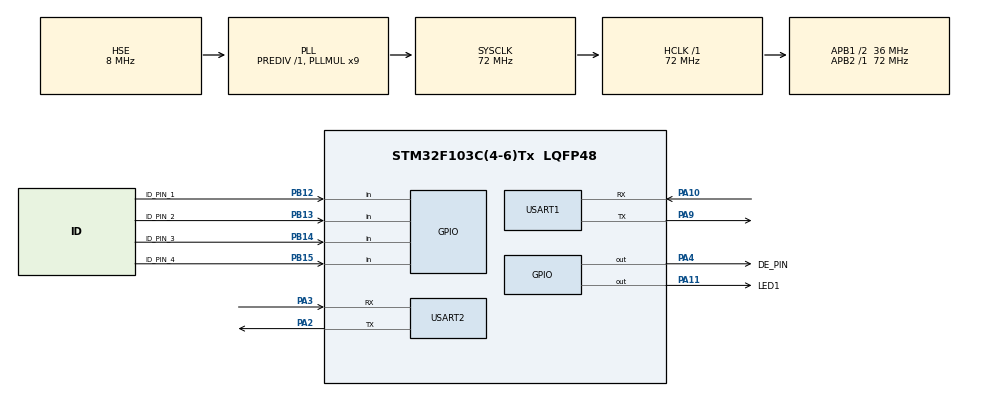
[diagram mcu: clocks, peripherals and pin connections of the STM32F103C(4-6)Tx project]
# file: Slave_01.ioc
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Dma.Request0=USART1_TX
Dma.Request1=USART2_RX
Dma.Request2=USART2_TX
Dma.Request3=USART1_RX
Dma.USART1_RX.3.Direction=DMA_PERIPH_TO_MEMORY
Dma.USART1_RX.3.Instance=DMA1_Channel5
Dma.USART1_RX.3.MemDataAlignment=DMA_MDATAALIGN_BYTE
Dma.USART1_RX.3.MemInc=DMA_MINC_ENABLE
Dma.USART1_RX.3.Mode=DMA_NORMAL
Dma.USART1_RX.3.PeriphDataAlignment=DMA_PDATAALIGN_BYTE
Dma.USART1_RX.3.PeriphInc=DMA_PINC_DISABLE
Dma.USART1_RX.3.Priority=DMA_PRIORITY_HIGH
Dma.USART1_TX.0.Direction=DMA_MEMORY_TO_PERIPH
Dma.USART1_TX.0.Instance=DMA1_Channel4
Dma.USART1_TX.0.MemDataAlignment=DMA_MDATAALIGN_BYTE
Dma.USART1_TX.0.MemInc=DMA_MINC_ENABLE
Dma.USART1_TX.0.Mode=DMA_NORMAL
Dma.USART1_TX.0.PeriphDataAlignment=DMA_PDATAALIGN_BYTE
Dma.USART1_TX.0.PeriphInc=DMA_PINC_DISABLE
Dma.USART1_TX.0.Priority=DMA_PRIORITY_HIGH
Dma.USART2_RX.1.Direction=DMA_PERIPH_TO_MEMORY
Dma.USART2_RX.1.Instance=DMA1_Channel6
Dma.USART2_RX.1.MemDataAlignment=DMA_MDATAALIGN_BYTE
Dma.USART2_RX.1.MemInc=DMA_MINC_ENABLE
Dma.USART2_RX.1.Mode=DMA_NORMAL
Dma.USART2_RX.1.PeriphDataAlignment=DMA_PDATAALIGN_BYTE
Dma.USART2_RX.1.PeriphInc=DMA_PINC_DISABLE
Dma.USART2_RX.1.Priority=DMA_PRIORITY_LOW
Dma.USART2_TX.2.Direction=DMA_MEMORY_TO_PERIPH
Dma.USART2_TX.2.Instance=DMA1_Channel7
Dma.USART2_TX.2.MemDataAlignment=DMA_MDATAALIGN_BYTE
Dma.USART2_TX.2.MemInc=DMA_MINC_ENABLE
Dma.USART2_TX.2.Mode=DMA_NORMAL
Dma.USART2_TX.2.PeriphDataAlignment=DMA_PDATAALIGN_BYTE
Dma.USART2_TX.2.PeriphInc=DMA_PINC_DISABLE
Dma.USART2_TX.2.Priority=DMA_PRIORITY_LOW
Mcu.Family=STM32F1
Mcu.Name=STM32F103C(4-6)Tx
Mcu.Package=LQFP48
NVIC.DMA1_Channel4_IRQn=true\:0\:0\:false\:false\:true\:false\:true\:true
NVIC.DMA1_Channel5_IRQn=true\:0\:0\:false\:false\:true\:false\:true\:true
NVIC.DMA1_Channel6_IRQn=true\:0\:0\:false\:false\:true\:false\:true\:true
NVIC.DMA1_Channel7_IRQn=true\:0\:0\:false\:false\:true\:false\:true\:true
NVIC.PriorityGroup=NVIC_PRIORITYGROUP_4
NVIC.USART1_IRQn=true\:0\:0\:false\:false\:true\:true\:true\:true
NVIC.USART2_IRQn=true\:0\:0\:false\:false\:true\:true\:true\:true
PA10.Mode=Asynchronous
PA10.Signal=USART1_RX
PA11.GPIO_Label=LED1
PA11.Signal=GPIO_Output
PA13.Mode=Serial_Wire
PA13.Signal=SYS_JTMS-SWDIO
PA14.Mode=Serial_Wire
PA14.Signal=SYS_JTCK-SWCLK
PA2.Mode=Asynchronous
PA2.Signal=USART2_TX
PA3.Mode=Asynchronous
PA3.Signal=USART2_RX
PA4.GPIO_Label=DE_PIN
PA4.Signal=GPIO_Output
PA9.Mode=Asynchronous
PA9.Signal=USART1_TX
PB12.GPIO_Label=ID_PIN_1
PB12.Signal=GPIO_Input
PB13.GPIO_Label=ID_PIN_2
PB13.Signal=GPIO_Input
PB14.GPIO_Label=ID_PIN_3
PB14.Signal=GPIO_Input
PB15.GPIO_Label=ID_PIN_4
PB15.Signal=GPIO_Input
PD0-OSC_IN.Mode=HSE-External-Oscillator
PD0-OSC_IN.Signal=RCC_OSC_IN
PD1-OSC_OUT.Mode=HSE-External-Oscillator
PD1-OSC_OUT.Signal=RCC_OSC_OUT
ProjectManager.HeapSize=0x200
ProjectManager.StackSize=0x400
ProjectManager.TargetToolchain=MDK-ARM V5.32
RCC.AHBFreq_Value=72000000
RCC.APB1CLKDivider=RCC_HCLK_DIV2
RCC.APB1Freq_Value=36000000
RCC.APB1TimFreq_Value=72000000
RCC.APB2Freq_Value=72000000
RCC.APB2TimFreq_Value=72000000
RCC.HCLKFreq_Value=72000000
RCC.PLLMUL=RCC_PLL_MUL9
RCC.PLLSourceVirtual=RCC_PLLSOURCE_HSE
RCC.SYSCLKFreq_VALUE=72000000
RCC.SYSCLKSource=RCC_SYSCLKSOURCE_PLLCLK
RCC.USBFreq_Value=72000000
USART1.VirtualMode=VM_ASYNC
USART2.VirtualMode=VM_ASYNC
board=custom

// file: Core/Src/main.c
/* USER CODE BEGIN Header */
/**
  ******************************************************************************
  * @file           : main.c
  * @brief          : Main program body
  ******************************************************************************
  * @attention
  *
  * Copyright (c) 2022 STMicroelectronics.
  * All rights reserved.
  *
  * This software is licensed under terms that can be found in the LICENSE file
  * in the root directory of this software component.
  * If no LICENSE file comes with this software, it is provided AS-IS.
  *
  ******************************************************************************
  */
/* USER CODE END Header */
#include "main.h"
#include "dma.h"
#include "usart.h"
#include "gpio.h"

/* USER CODE BEGIN Includes */
#include "string.h"
#include "slavemodbus.h"
#include "crc.h"
/* USER CODE END Includes */

/* USER CODE BEGIN PV */
extern UART_HandleTypeDef huart1;
extern UART_HandleTypeDef huart2;
extern DMA_HandleTypeDef hdma_usart1_rx;
extern DMA_HandleTypeDef hdma_usart2_rx;

/* USER CODE END PV */

void SystemClock_Config(void);

/* USER CODE BEGIN 0 */

uint8_t RxBuf[RxBuf_SIZE];                      //UART2 Recive buffer
uint8_t MainBuf[MainBuf_SIZE];                  //Main buffer to store data from UART2
uint8_t RxSensorBuf[RxSensorBuf_SIZE];          //UART1 Recive buffer
uint8_t MainSensorBuf[MainSensorBuf_SIZE];      //Main buffer to store data from UART1
uint8_t slavedata[slavedata_SIZE];              //Final data to send from slave device
uint8_t slaveerrordata[slaveerrordata_SIZE];
const int HEADER = 0x59;
uint8_t transmit = 0;
extern uint8_t slave_id;

void HAL_UARTEx_RxEventCallback(UART_HandleTypeDef *huart, uint16_t Size)
{
	if(huart->Instance == USART2)
	{

		memcpy(MainBuf,RxBuf,Size);
		HAL_UARTEx_ReceiveToIdle_DMA(&huart2,RxBuf,RxBuf_SIZE);

	}
	else if(huart->Instance == USART1)
	{
	//	memcpy(MainSensorBuf,RxSensorBuf,Size);
		if(RxSensorBuf[0] == HEADER){
			if(RxSensorBuf[1] == HEADER){
				transmit = 0;
				uint16_t check = RxSensorBuf[0] + RxSensorBuf[1] + RxSensorBuf[2] + RxSensorBuf[3] + RxSensorBuf[4] + RxSensorBuf[5] + RxSensorBuf[6] + RxSensorBuf[7];
				if(RxSensorBuf[8] == (check & 0xff)){
					uint16_t dist = RxSensorBuf[2] + RxSensorBuf[3] * 256;
					slavedata[0] = slave_id;
					slavedata[1] = 0x06;
					slavedata[2] = 0x07;
					slavedata[3] = dist >> 8;
					slavedata[4] = dist & 0xFF;
					uint16_t crccheck = CRC_chk(slavedata,slavedata_SIZE-2);
					slavedata[5] = crccheck >> 8;
					slavedata[6] = crccheck & 0xFF;
				}
			}
			else
			{
				transmit = 1;
				slaveerrordata[0] = slave_id;
				slaveerrordata[1] = 0x09;
				slaveerrordata[2] = 0x01;
				uint16_t crccheck = CRC_chk(slaveerrordata,slaveerrordata_SIZE-2);
				slaveerrordata[3] = crccheck >> 8;
				slaveerrordata[4] = crccheck & 0xFF;

			}
		}
		HAL_UARTEx_ReceiveToIdle_DMA(&huart1,RxSensorBuf,RxSensorBuf_SIZE);
	}
}

/* USER CODE END 0 */

int main(void)
{

  /* MCU Configuration--------------------------------------------------------*/

  /* Reset of all peripherals, Initializes the Flash interface and the Systick. */
  HAL_Init();

  /* Configure the system clock */
  SystemClock_Config();

  /* Initialize all configured peripherals */
  MX_GPIO_Init();
  MX_DMA_Init();
  MX_USART1_UART_Init();
  MX_USART2_UART_Init();
  /* USER CODE BEGIN 2 */
  id_detect();                   // Slave ID Detection

	HAL_UARTEx_ReceiveToIdle_DMA(&huart1,RxSensorBuf,RxSensorBuf_SIZE);
	__HAL_DMA_DISABLE_IT(&hdma_usart1_rx,DMA_IT_HT);

	HAL_UARTEx_ReceiveToIdle_DMA(&huart2,RxBuf,RxBuf_SIZE);
	__HAL_DMA_DISABLE_IT(&hdma_usart2_rx,DMA_IT_HT);

  /* USER CODE END 2 */

  /* Infinite loop */
  /* USER CODE BEGIN WHILE */
	HAL_GPIO_WritePin(DE_PIN_GPIO_Port,DE_PIN_Pin,GPIO_PIN_RESET);
  while (1)
  {

		validate_req(MainBuf,MainBuf_SIZE);   // modbus Transmit

    /* USER CODE END WHILE */

  }
}

void SystemClock_Config(void)
{
  RCC_OscInitTypeDef RCC_OscInitStruct = {0};
  RCC_ClkInitTypeDef RCC_ClkInitStruct = {0};

  /** Initializes the RCC Oscillators according to the specified parameters
  * in the RCC_OscInitTypeDef structure.
  */
  RCC_OscInitStruct.OscillatorType = RCC_OSCILLATORTYPE_HSE;
  RCC_OscInitStruct.HSEState = RCC_HSE_ON;
  RCC_OscInitStruct.HSEPredivValue = RCC_HSE_PREDIV_DIV1;
  RCC_OscInitStruct.HSIState = RCC_HSI_ON;
  RCC_OscInitStruct.PLL.PLLState = RCC_PLL_ON;
  RCC_OscInitStruct.PLL.PLLSource = RCC_PLLSOURCE_HSE;
  RCC_OscInitStruct.PLL.PLLMUL = RCC_PLL_MUL9;
  if (HAL_RCC_OscConfig(&RCC_OscInitStruct) != HAL_OK)
  {
    Error_Handler();
  }

  /** Initializes the CPU, AHB and APB buses clocks
  */
  RCC_ClkInitStruct.ClockType = RCC_CLOCKTYPE_HCLK|RCC_CLOCKTYPE_SYSCLK
                              |RCC_CLOCKTYPE_PCLK1|RCC_CLOCKTYPE_PCLK2;
  RCC_ClkInitStruct.SYSCLKSource = RCC_SYSCLKSOURCE_PLLCLK;
  RCC_ClkInitStruct.AHBCLKDivider = RCC_SYSCLK_DIV1;
  RCC_ClkInitStruct.APB1CLKDivider = RCC_HCLK_DIV2;
  RCC_ClkInitStruct.APB2CLKDivider = RCC_HCLK_DIV1;

  if (HAL_RCC_ClockConfig(&RCC_ClkInitStruct, FLASH_LATENCY_2) != HAL_OK)
  {
    Error_Handler();
  }
}

void Error_Handler(void)
{
  __disable_irq();
  while (1)
  {
  }
}
